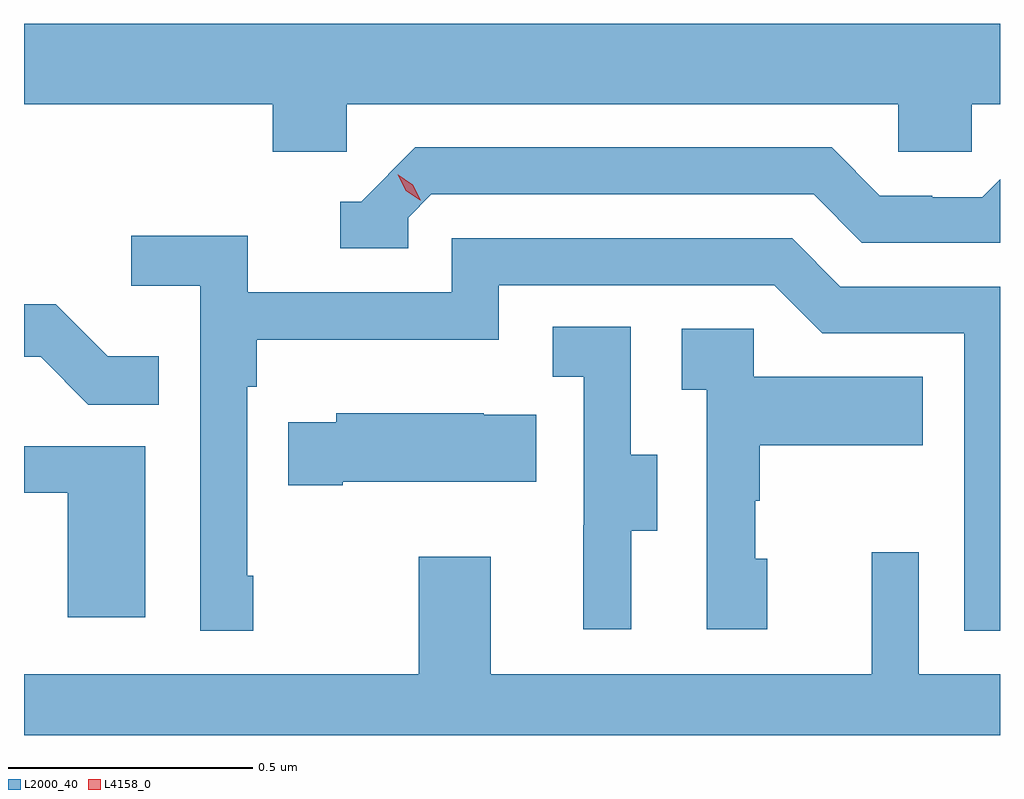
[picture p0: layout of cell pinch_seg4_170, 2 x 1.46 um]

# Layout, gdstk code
import gdstk
lib = gdstk.Library(unit=1e-6, precision=1e-09)
def P(c, l, *ps):  # polygons
    for p in ps: c.add(gdstk.Polygon(p, *l))
L2000_40 = (2000, 40)
L4158_0 = (4158, 0)

pinch_seg4_170 = lib.new_cell('pinch_seg4_170')
P(pinch_seg4_170, L2000_40, [(1142.922,791.492),(1144.053,791.492),(1144.053,791.394),(1144.203,791.394),(1144.203,791.492),(1144.261,791.492),(1144.261,791.656),(1142.261,791.656),(1142.261,791.492),(1142.771,791.492),(1142.771,791.394),(1142.922,791.394)],
  [(1143.048,791.259),(1143.096,791.307),(1143.879,791.307),(1143.978,791.208),(1144.261,791.208),(1144.261,791.338),(1144.225,791.301),(1144.122,791.301),(1144.122,791.304),(1144.015,791.304),(1143.916,791.403),(1143.063,791.403),(1142.952,791.292),(1142.909,791.292),(1142.909,791.196),(1143.048,791.196)],
  [(1142.731,790.525),(1142.718,790.525),(1142.718,790.913),(1142.738,790.913),(1142.738,791.009),(1143.234,791.009),(1143.234,791.121),(1143.798,791.121),(1143.897,791.022),(1144.188,791.022),(1144.188,790.413),(1144.261,790.413),(1144.261,791.118),(1143.934,791.118),(1143.835,791.217),(1143.138,791.217),(1143.138,791.106),(1142.72,791.106),(1142.72,791.222),(1142.481,791.222),(1142.481,791.12),(1142.622,791.12),(1142.622,790.413),(1142.731,790.413)],
  [(1142.537,790.975),(1142.433,790.975),(1142.326,791.082),(1142.261,791.082),(1142.261,790.974),(1142.295,790.974),(1142.393,790.876),(1142.537,790.876)],
  [(1143.505,790.618),(1143.559,790.618),(1143.559,790.773),(1143.504,790.773),(1143.504,791.036),(1143.345,791.036),(1143.345,790.933),(1143.408,790.933),(1143.408,790.629),(1143.407,790.629),(1143.407,790.416),(1143.505,790.416)],
  [(1143.784,790.56),(1143.759,790.56),(1143.759,790.679),(1143.769,790.679),(1143.769,790.793),(1144.103,790.793),(1144.103,790.933),(1143.756,790.933),(1143.756,791.031),(1143.609,791.031),(1143.609,790.907),(1143.66,790.907),(1143.66,790.416),(1143.784,790.416)],
  [(1142.914,790.718),(1143.311,790.718),(1143.311,790.855),(1143.203,790.855),(1143.203,790.858),(1142.901,790.858),(1142.901,790.84),(1142.803,790.84),(1142.803,790.711),(1142.914,790.711)],
  [(1142.509,790.791),(1142.261,790.791),(1142.261,790.695),(1142.351,790.695),(1142.351,790.44),(1142.509,790.44)],
  [(1144.261,790.324),(1144.095,790.324),(1144.095,790.573),(1143.998,790.573),(1143.998,790.324),(1143.217,790.324),(1143.217,790.564),(1143.07,790.564),(1143.07,790.324),(1142.261,790.324),(1142.261,790.199),(1144.261,790.199)])
P(pinch_seg4_170, L4158_0, [(1143.073,791.295),(1143.043,791.314),(1143.027,791.347),(1143.027,791.347),(1143.028,791.347),(1143.058,791.327),(1143.074,791.295),(1143.074,791.295)])

lib.write_gds('pinch_seg4_170.gds')
